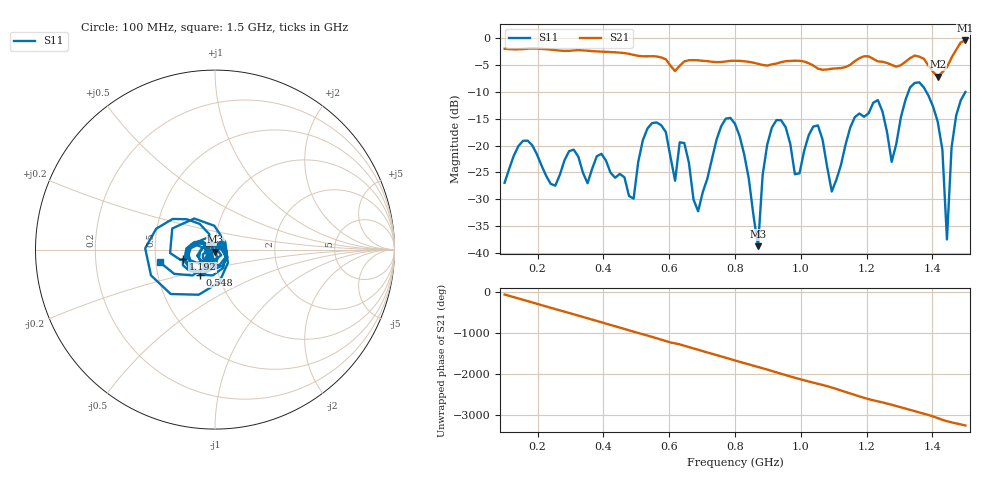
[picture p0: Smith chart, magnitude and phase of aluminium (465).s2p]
! NanoVNA-App
! Date: 2025-09-25 14:58:54
! Start: 100MHz Stop: 1,5GHz Points: 101
! S-Parameter data: F S11 S21 S12 S22
# Hz S RI R 50
!  Frequency  S11_Real  S11_Imag  S21_Real  S21_Imag  S12_Real  S12_Imag  S22_Real  S22_Imag
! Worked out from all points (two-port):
!   101 points, 100 MHz to 1.5 GHz, reference 50 ohm
!   highest |S21| = -0.37 dB at 1.5 GHz (marker M1); lowest = -7.1 dB at 1.416 GHz (marker M2)
!   |S21| within 3 dB of the highest: start of sweep to 562.9 MHz; 1.46 GHz to end of sweep (the widest 2 of 4)
!   lowest |S11| = -38.8 dB at 870 MHz (marker M3), VSWR 1.02, Z = 50.2 - j1.12 ohm
!   |S11| at or under -10 dB: start of sweep to 1.327 GHz; 1.382 GHz to end of sweep
!   S12 and S22 are empty: the file has one direction only
!   S11 on the Smith chart (normalised r, x): 100 MHz: 1.07, +0.06; 548 MHz: 0.82, -0.23; 1.192 GHz: 0.69, -0.07; 1.5 GHz: 0.52, -0.08
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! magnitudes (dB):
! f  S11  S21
! 100 MHz  -27.0  -1.9
! 156 MHz  -19.1  -2.0
! 338 MHz  -25.1  -2.2
! 492 MHz  -29.9  -3.1
! 548 MHz  -15.8  -3.3
! 576 MHz  -16.2  -3.5
! 646 MHz  -19.5  -4.3
! 688 MHz  -32.3  -4.1
! 800 MHz  -15.9  -4.2
! 870 MHz  -38.8  -4.7
! 912 MHz  -16.6  -4.8
! 982 MHz  -25.4  -4.1
! 1.038 GHz  -16.5  -5.1
! 1.094 GHz  -28.6  -5.7
! 1.192 GHz  -14.6  -3.3
! 1.234 GHz  -11.5  -4.3
! 1.276 GHz  -23.0  -4.9
! 1.346 GHz  -8.3  -3.2
! 1.416 GHz  -15.6  -7.1
! 1.444 GHz  -37.5  -5.4
! 1.458 GHz  -20.3  -3.6
! 1.5 GHz  -10.0  -0.4
